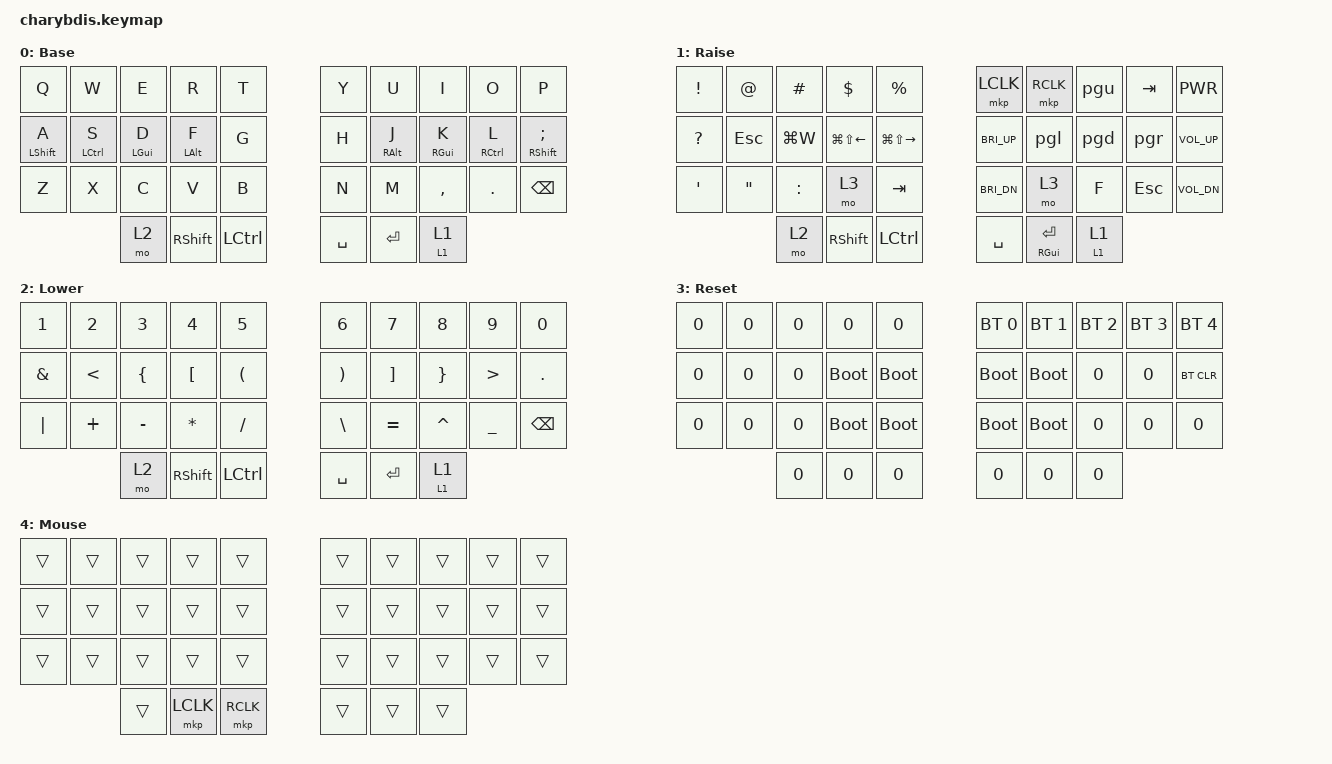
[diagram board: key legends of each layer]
#include <behaviors.dtsi>
#include <dt-bindings/zmk/keys.h>
#include <dt-bindings/zmk/bt.h>
#include <dt-bindings/zmk/mouse.h>
#include <dt-bindings/zmk/outputs.h>




&lt {
    tapping-term-ms = <240>;
    flavor = "balanced";
    quick-tap-ms = <150>;
};

/ {


    behaviors {
        pgl: left_pg {
            label = "Left Page Key";
            compatible = "zmk,behavior-mod-morph";
            #binding-cells = <0>;
            bindings = <&kp LEFT>, <&kp LG(LS(LEFT))>;
            mods = <(MOD_RGUI)>;
        };

        pgr: right_pg {
            label = "Right Page Key";
            compatible = "zmk,behavior-mod-morph";
            #binding-cells = <0>;
            bindings = <&kp RIGHT>, <&kp LG(LS(RIGHT))>;
            mods = <(MOD_RGUI)>;
        };

        pgu: up_restore_pg {
            label = "Up Page Key";
            compatible = "zmk,behavior-mod-morph";
            #binding-cells = <0>;
            bindings = <&kp UP>, <&kp LG(LS(T))>;
            mods = <(MOD_RGUI)>;
        };

        pgd: down_close_pg {
            label = "Down Page Key";
            compatible = "zmk,behavior-mod-morph";
            #binding-cells = <0>;
            bindings = <&kp DOWN>, <&kp LG(W)>;
            mods = <(MOD_RGUI)>;
        };


        ftab: GUI_f_Tab {
            label = "GUI F to GUI Tab";
            compatible = "zmk,behavior-mod-morph";
            #binding-cells = <0>;
            bindings = <&kp F>, <&kp LG(TAB)>;
            mods = <(MOD_RGUI)>;
        };


        moto: mt_mo_to {
        compatible = "zmk,behavior-hold-tap";
        label = "LAYER_TAP_LAYER_TO";
        #binding-cells = <2>;
        bindings = <&mo>, <&to>;
        tapping-term-ms = <200>;
        };        
    };
 







    keymap {
        compatible = "zmk,keymap";

        Base {

            // -----------------------------------------------------------------------------------------
            // |  Q  |  W  |  E  |  R  |  T  |       |  Y  |  U  |  I  |  O  |  P  |
            // |  A  |  S  |  D  |  F  |  G  |       |  H  |  J  |  K  |  L  |  ;  |
            // |  Z  |  X  |  C  |  V  |  B  |       |  N  |  M  |  ,  |  .  |  BS |
            //             | mo1 | SFT | CTL |       | SPC | ENT | mo2 |
            // -----------------------------------------------------------------------------------------

            label = "Base";
            bindings = <
                &kp Q           &kp W       &kp E       &kp R       &kp T           &kp Y       &kp U       &kp I       &kp O       &kp P
                &mt LSHIFT A    &mt LCTRL S &mt LGUI D  &mt LALT F   &kp G           &kp H       &mt RALT J  &mt RGUI K  &mt RCTRL L &mt RSHIFT SEMI
                &kp Z           &kp X       &kp C       &kp V       &kp B           &kp N       &kp M       &kp COMMA   &kp DOT     &kp BSPC
                                            &mo 2       &kp RSHIFT  &kp LCTRL    &kp SPACE    &kp RET     &moto 1 1 
            >;

            trackball-bindings = <&tmv>;
        };



        Raise {

            // -----------------------------------------------------------------------------------------
            // |  !  |  @  |  #  |  $  |  %  |       | LCK | RCK |  ↑  | TAB | PWR |
            // |  ?  | ESC |  X  | ←pg | pg→ |       |  B+ |  ←  |  ↓  |  →  |  V+ |
            // |  '  |  "  |  :  | rst | Tab |       |  B- | rst |  f  | ESC |  V- |
            //             | mo1 | SFT | CTL |       | SPC | ENT | mo2 |
            // -----------------------------------------------------------------------------------------


            label = "Raise";
            bindings = <
                &kp EXCL    &kp AT      &kp HASH    &kp DLLR        &kp PRCNT       &mkp LCLK  &mkp RCLK    &pgu      &kp TAB   &kp C_PWR
                &kp QMARK   &kp ESC     &kp LG(W)  &kp LG(LS(LEFT))      &kp LG(LS(RIGHT))    &kp C_BRI_UP    &pgl    &pgd   &pgr   &kp C_VOL_UP
                &kp SQT     &kp DQT     &kp COLON   &mo 3         &kp TAB         &kp C_BRI_DN    &mo 3   &kp F     &kp ESC     &kp C_VOL_DN
                                        &mo 2   &kp RSHIFT  &kp LCTRL    &kp SPACE   &mt RGUI RET    &moto 1 1    
            >;
            trackball-bindings = <&tmv>;
        };



        Lower {

            // -----------------------------------------------------------------------------------------
            // |  1  |  2  |  3  |  4  |  5  |       |  6  |  7  |  8  |  9  |  0  |
            // |  &  |  <  |  {  |  [  |  (  |       |  )  |  ]  |  }  |  >  |  .  |
            // |  |  |  +  |  -  |  *  |  /  |       |  \  |  =  |  ^  |  _  |  BS |
            //             | mo1 | SFT | CTL |       | SPC | ENT | mo2 |
            // -----------------------------------------------------------------------------------------

 

            label = "Lower";
            bindings = <
                &kp N1      &kp N2      &kp N3      &kp N4      &kp N5      &kp N6      &kp N7      &kp N8      &kp N9      &kp N0
                &kp AMPS    &kp LT      &kp LBRC    &kp LBKT    &kp LPAR    &kp RPAR    &kp RBKT    &kp RBRC    &kp GT      &kp DOT
                &kp PIPE    &kp PLUS    &kp MINUS   &kp STAR    &kp FSLH    &kp BSLH    &kp EQUAL   &kp CARET   &kp UNDER   &kp BSPC 
                                        &mo 2   &kp RSHIFT  &kp LCTRL    &kp SPACE    &kp RET    &moto 1 1  
            >;
            trackball-bindings = <&tmv>;
        };

        Reset {


            // -----------------------------------------------------------------------------------------
            // |     |     |     |     |     |       |     |     |     |     |     |
            // |     |     |     |     |     |       |     |     |     |     |     |
            // |     |     |     |     |     |       |     |     |     |     |     |
            //             |     |     |     |       |     |     |     |
            // -----------------------------------------------------------------------------------------

            label = "Reset";
            bindings = <
                &kp N0 &kp N0  &kp N0 &kp N0 &kp N0                 &bt BT_SEL 0      &bt BT_SEL 1 &bt BT_SEL 2      &bt BT_SEL 3  &bt BT_SEL 4 
                &kp N0  &kp N0  &kp N0 &bootloader   &bootloader    &bootloader  &bootloader &kp N0 &kp N0 &bt BT_CLR
                &kp N0  &kp N0 &kp N0 &bootloader   &bootloader    &bootloader  &bootloader   &kp N0 &kp N0 &kp N0
                        &kp N0  &kp N0  &kp N0   &kp N0  &kp N0    &kp N0
            >;
        };


      



        Mouse {

            // -----------------------------------------------------------------------------------------
            // |     |     |     |     |     |       |     |     |     |     |     |
            // |     |     |     |     |     |       |     |     |     |     |     |
            // |     |     |     |     |     |       |     |     |     |     |     |
            //             |     |     |     |       |     |     |     |
            // -----------------------------------------------------------------------------------------


            bindings = <
                &trans  &trans     &trans  &trans     &trans    &trans  &trans  &trans  &trans    &trans
                &trans  &trans     &trans  &trans     &trans    &trans  &trans  &trans  &trans     &trans
                &trans  &trans     &trans  &trans     &trans   &trans  &trans  &trans  &trans  &trans
                           &trans &mkp LCLK  &mkp RCLK  &trans  &trans  &trans 
            >;
             trackball-bindings = <&tmv>;
        };
    };
};
